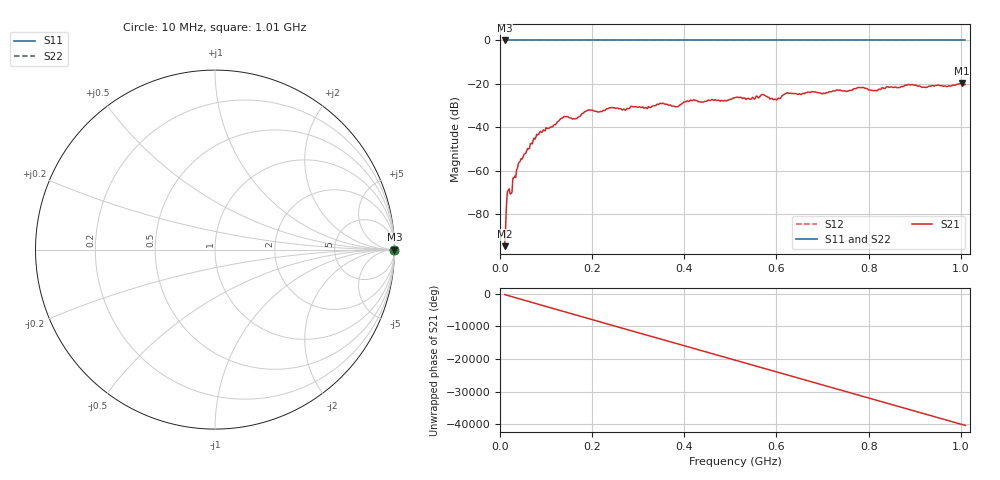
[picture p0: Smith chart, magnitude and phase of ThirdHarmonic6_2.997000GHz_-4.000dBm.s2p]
! 8/17/2025 8:33:26 AM
! C:\ANRITSUVNA\TEMP\TEMP.S2P
! CHANNEL.1
! TR.MEASUREMENT
! RAW.DATA
! RF.CORRECTION.OFF
! AVERAGING.OFF
! IF.BANDWIDTH: 5KHZ
! SWEEPTYPE:  FREQ.SWEEP(Linear)
! Reference Plane Port Info
! PORT:  PORT1  PORT2
! DISTANCE:  0  m  0  m
! TIME:  0  s  0  s
! PHASE.OFFSET:  0  deg.  0  deg.
! LOSS:  0  dB  0  dB
! REF.LOSS:  0  dB  0  dB
! REF.FREQ:  0  Hz  0  Hz
! Power Info
! POWER:  -20  dBm  -20  dBm
! EFF.POWER:  -20  dBm  -20  dBm
! SOURCE.ATTEN:  0  dB  0  dB
! TEST.ATTEN:  0  dB  0  dB
# GHZ S RI R 50.0
! FREQ.GHZ  S11RE  S11IM  S21RE  S21IM  S12RE  S12IM  S22RE  S22IM
!; PortSelection: Port_12
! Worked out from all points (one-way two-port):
!   501 points, 10 MHz to 1.01 GHz, reference 50 ohm
!   highest |S21| = -19.56 dB at 1.002 GHz (marker M1); lowest = -94.8 dB at 10 MHz (marker M2)
!   lowest |S11| = 0.0 dB at 10 MHz (marker M3)
!   |S11| at or under -10 dB: nowhere
!   |S22| runs from 0.0 to 0.0 dB; largest |S21 - S12| = 1.1
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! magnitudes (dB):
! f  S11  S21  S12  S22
! 10 MHz  0.0  -94.8  0.0  0.0
! 18 MHz  0.0  -69.0  0.0  0.0
! 26 MHz  0.0  -70.0  0.0  0.0
! 40 MHz  0.0  -56.7  0.0  0.0
! 76 MHz  0.0  -45.5  0.0  0.0
! 136 MHz  0.0  -35.7  0.0  0.0
! 162 MHz  0.0  -36.1  0.0  0.0
! 178 MHz  0.0  -33.7  0.0  0.0
! 194 MHz  0.0  -32.0  0.0  0.0
! 316 MHz  0.0  -30.9  0.0  0.0
! 344 MHz  0.0  -29.4  0.0  0.0
! 384 MHz  0.0  -30.6  0.0  0.0
! 416 MHz  0.0  -27.7  0.0  0.0
! 510 MHz  0.0  -26.4  0.0  0.0
! 570 MHz  0.0  -24.8  0.0  0.0
! 598 MHz  0.0  -27.1  0.0  0.0
! 622 MHz  0.0  -24.3  0.0  0.0
! 678 MHz  0.0  -23.5  0.0  0.0
! 814 MHz  0.0  -23.0  0.0  0.0
! 844 MHz  0.0  -21.5  0.0  0.0
! 1.002 GHz  0.0  -19.6  0.0  0.0
! 1.01 GHz  0.0  -20.3  0.0  0.0
